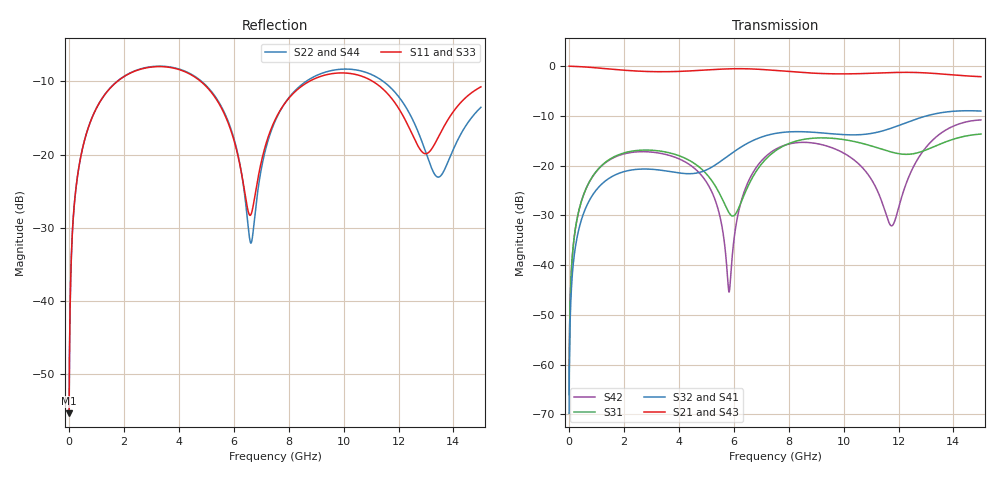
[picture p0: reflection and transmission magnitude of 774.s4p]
! Created with skrf 1.8.0 (http://scikit-rf.org).
# GHz S RI R 50.0
!freq ReS11 ImS11 ReS12 ImS12 ReS13 ImS13
! ReS14 ImS14
! ReS21 ImS21 ReS22 ImS22 ReS23 ImS23
! ReS24 ImS24
! ReS31 ImS31 ReS32 ImS32 ReS33 ImS33
! ReS34 ImS34
! ReS41 ImS41 ReS42 ImS42 ReS43 ImS43
! ReS44 ImS44
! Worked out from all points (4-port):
!   2499 points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, 5 MHz to 15 GHz, reference 50 ohm
!   strongest paths, dB at 5 MHz, 3.476 GHz, 7.19 GHz, 11.1 GHz, 15 GHz:
!     S21: 0.0, -1.1, -0.7, -1.4, -2.1
!     S43: 0.0, -1.1, -0.7, -1.4, -2.1
!     S32: -69.8, -21.0, -13.9, -13.4, -9.0
!     S41: -69.8, -21.0, -14.0, -13.5, -9.1
!     S31: -66.0, -17.2, -18.6, -16.2, -13.7
!     S42: -66.0, -17.7, -18.0, -23.6, -10.8
!   lowest |S11| = -55.3 dB at 5 MHz (marker M1), VSWR 1.00, Z = 50.1 + j0.105 ohm
!   |S11| at or under -10 dB: start of sweep to 1.762 GHz; 4.797 GHz to 8.75 GHz (3.953 GHz wide, 58.4 % of centre); 11.06 GHz to end of sweep
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0.005  0.00136 0.00104  0.9986 -0.00266  6.62e-05 0.000495  -6.46e-05 -0.000317
       0.9986 -0.00266  0.00136 0.00104  -6.46e-05 -0.000317  6.61e-05 0.000495
       6.62e-05 0.000495  -6.46e-05 -0.000317  0.00136 0.00104  0.9986 -0.00266
       -6.46e-05 -0.000317  6.61e-05 0.000495  0.9986 -0.00266  0.00136 0.00104
0.3626511  0.0219 0.0797  0.9699 -0.1917  0.00974 0.0342  -0.00794 -0.0217
           0.9699 -0.1917  0.022 0.0797  -0.00794 -0.0217  0.00915 0.0343
           0.00974 0.0342  -0.00794 -0.0217  0.0219 0.0797  0.9699 -0.1917
           -0.00794 -0.0217  0.00915 0.0343  0.9699 -0.1917  0.022 0.0797
1.77574  0.2556 0.1888  0.5816 -0.7127  0.1155 0.0539  -0.0819 -0.0115
         0.5816 -0.7127  0.2579 0.1874  -0.0819 -0.0115  0.1079 0.0634
         0.1155 0.0539  -0.0819 -0.0115  0.2556 0.1888  0.5816 -0.7127
         -0.0819 -0.0115  0.1079 0.0634  0.5816 -0.7127  0.258 0.1874
5.827428  0.0883 -0.1323  -0.8467 -0.4054  -0.0283 -0.0179  -0.0512 0.1163
          -0.8467 -0.4054  0.0782 -0.143  -0.0507 0.1165  0.00514 0.00149
          -0.0283 -0.0179  -0.0507 0.1165  0.0883 -0.1335  -0.8464 -0.4054
          -0.0512 0.1163  0.00514 0.00149  -0.8464 -0.4054  0.0792 -0.1438
6.52772  0.0383 -0.0145  -0.9353 -0.0835  -0.0146 0.0611  -0.0122 0.1686
         -0.9353 -0.0835  0.0245 -0.0206  -0.0115 0.1688  0.0112 0.068
         -0.0146 0.0611  -0.0115 0.1688  0.0375 -0.0158  -0.9352 -0.0836
         -0.0122 0.1686  0.0112 0.068  -0.9352 -0.0836  0.0255 -0.0218
10.54815  0.3417 -0.0671  0.1377 0.828  0.0778 -0.152  0.1883 -0.0776
          0.1377 0.828  0.3649 -0.0896  0.1881 -0.0796  0.0986 -0.0333
          0.0778 -0.152  0.1881 -0.0796  0.3417 -0.0661  0.1389 0.8277
          0.1883 -0.0776  0.0986 -0.0333  0.1389 0.8277  0.365 -0.0915
15  0.2758 0.0898  0.6091 -0.4918  0.1627 0.1288  -0.2725 -0.2231
    0.6091 -0.4918  0.1895 0.0913  -0.2755 -0.2215  0.2776 0.0757
    0.1627 0.1288  -0.2755 -0.2215  0.2749 0.0926  0.6061 -0.4943
    -0.2725 -0.2231  0.2776 0.0757  0.6061 -0.4943  0.1959 0.0901
